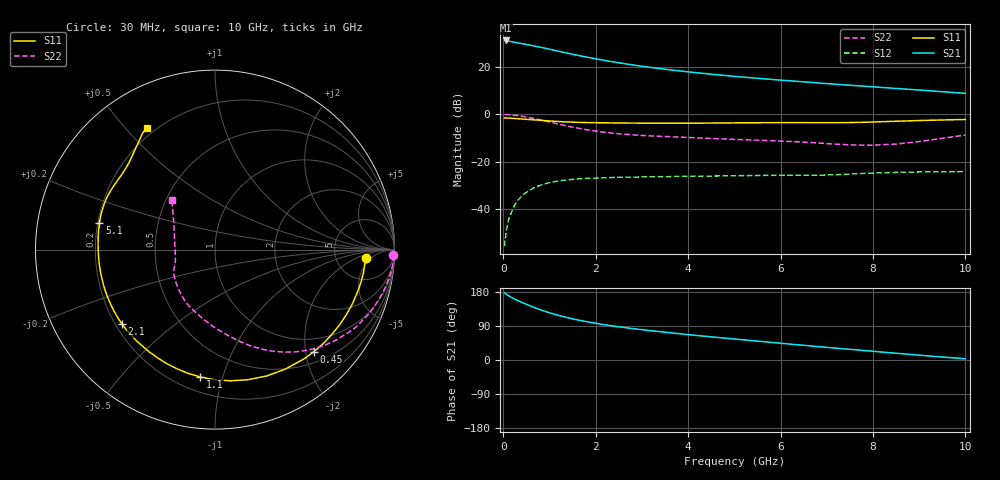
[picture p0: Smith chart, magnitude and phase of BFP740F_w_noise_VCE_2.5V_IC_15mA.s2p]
! Infineon Technologies  Discrete & RF Semiconductors
! BFP740F
! VCE =  2.5 V,  IC =  15 mA
! Common Emitter S-Parameters:  Oct 2012
# GHz  S  MA  R  50
!  f  S11  S21  S12  S22
! GHz  MAG  ANG  MAG  ANG  MAG  ANG  MAG  ANG
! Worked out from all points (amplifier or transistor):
!   99 points, 30 MHz to 10 GHz, reference 50 ohm
!   highest |S21| = 31.4 dB at 50 MHz (marker M1)
!   |S21| within 3 dB of that: start of sweep to 833.8 MHz
!   unconditionally stable (mu >= 1): 6.231 GHz to end of sweep
!   at 350 MHz: K = 0.11, MSG = 33.0 dB, |S12| = -35.8 dB
!   at 3.5 GHz: K = 0.60, MSG = 22.8 dB, |S12| = -26.4 dB
!   at 10 GHz: K = 1.24, MAG = 13.7 dB, |S12| = -24.3 dB
!   lowest NFmin = 0.53 dB at 450 MHz
!   S11 on the Smith chart (normalised r, x): 30 MHz: 10, -3; 450 MHz: 0.71, -2.17; 1.1 GHz: 0.29, -0.85; 2.1 GHz: 0.23, -0.34; 5.1 GHz: 0.21, +0.11; 10 GHz: 0.17, +0.57
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0.03  0.8403 -3.2  36.78 176.6  0.0016 86.0  0.9928 -1.8
0.05  0.8383 -5.5  36.98 175.0  0.0024 84.4  0.993 -3.4
0.11  0.8341 -12.0  36.06 170.0  0.0056 83.5  0.9869 -7.7
0.15  0.8291 -16.3  35.42 167.0  0.007 80.4  0.9785 -10.5
0.2  0.8233 -21.4  34.54 163.7  0.0096 79.7  0.9674 -13.8
0.3  0.8105 -31.4  33.06 157.6  0.0144 74.8  0.9411 -20.1
0.45  0.7921 -45.8  31.07 149.5  0.0204 66.7  0.8951 -28.9
0.6  0.7727 -59.4  29.16 141.9  0.0256 60.2  0.8401 -37.1
0.8  0.7483 -75.7  26.61 132.8  0.0313 52.3  0.7642 -47.1
0.9  0.7363 -83.2  25.36 128.6  0.0337 48.8  0.726 -51.7
1.1  0.7144 -96.6  22.95 121.0  0.0372 42.8  0.6534 -60.1
1.4  0.6894 -113.4  19.77 111.4  0.0409 36.0  0.5626 -70.8
1.7  0.6726 -126.9  17.2 103.5  0.0432 31.1  0.4921 -80.0
2.1  0.664 -141.2  14.5 94.7  0.0451 26.1  0.4286 -91.6
2.4  0.658 -149.3  12.88 89.3  0.0459 23.3  0.3963 -98.7
2.7  0.6541 -156.3  11.58 84.4  0.0466 21.6  0.3731 -104.7
3.4  0.6498 -169.4  9.335 74.6  0.0476 18.4  0.3423 -116.1
4.2  0.6511 178.9  7.616 64.6  0.0488 16.6  0.3171 -125.4
5.1  0.661 167.0  6.285 54.3  0.05 15.1  0.2926 -135.8
6.7  0.6666 148.0  4.728 36.6  0.0514 14.4  0.2513 -155.1
8.5  0.715 128.4  3.551 17.8  0.0588 13.8  0.2342 164.6
10  0.7788 119.3  2.794 3.3  0.0613 10.1  0.3651 131.2
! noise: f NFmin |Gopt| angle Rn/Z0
0.45  0.53  0.1  7  0.57
0.9  0.59  0.1  17  0.24
1.5  0.65  0.1  30  0.04
1.9  0.7  0.1  43  0.03
2.4  0.74  0.1  60  0.03
3.5  0.85  0.09  78  0.13
5.5  1.03  0.07  170  0.18
10  1.4  0.38  -111  0.12
